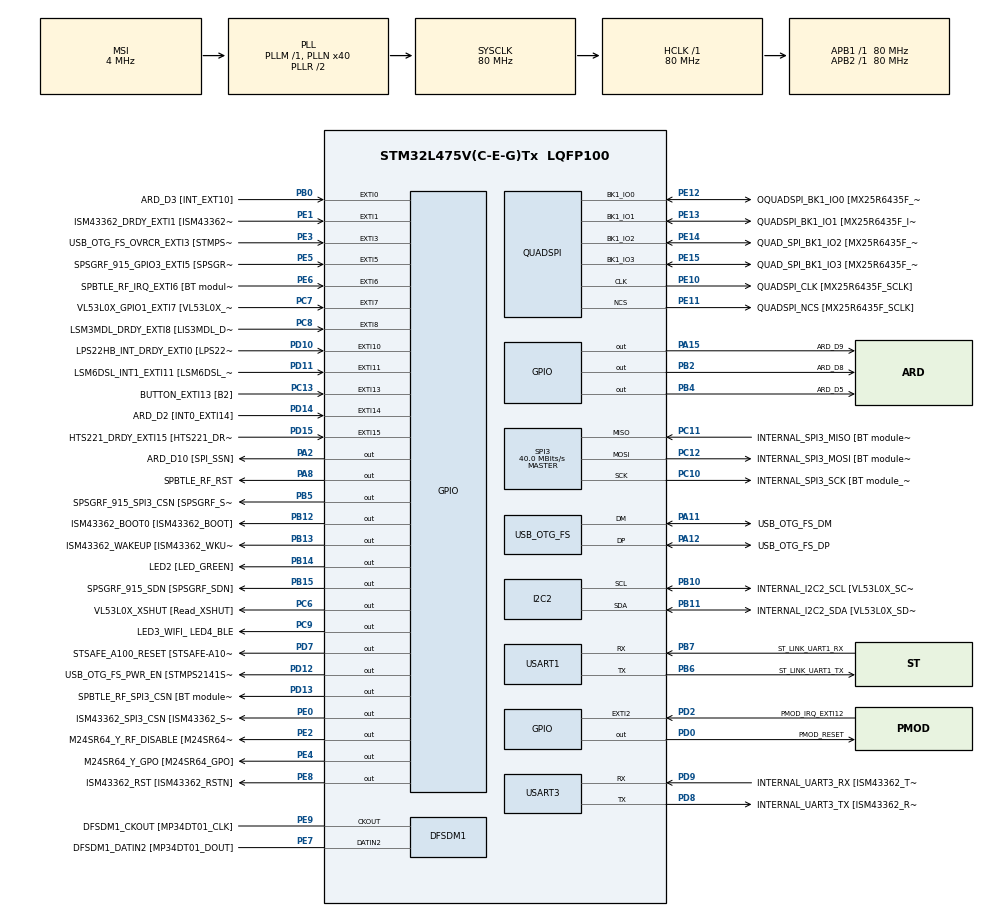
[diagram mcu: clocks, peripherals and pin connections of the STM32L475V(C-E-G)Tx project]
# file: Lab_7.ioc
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Mcu.Family=STM32L4
Mcu.Name=STM32L475V(C-E-G)Tx
Mcu.Package=LQFP100
NVIC.EXTI15_10_IRQn=true\:0\:0\:false\:false\:true\:true\:true\:true
NVIC.EXTI9_5_IRQn=true\:0\:0\:false\:false\:true\:true\:true\:true
NVIC.PriorityGroup=NVIC_PRIORITYGROUP_4
PA0.GPIO_Label=ARD_D1 [UART4_TX]
PA0.Signal=UART4_TX
PA1.GPIO_Label=ARD_D0 [UART4_RX]
PA1.Signal=UART4_RX
PA10.GPIO_Label=USB_OTG_FS_ID
PA10.Signal=USB_OTG_FS_ID
PA11.GPIO_Label=USB_OTG_FS_DM
PA11.Mode=Device_Only
PA11.Signal=USB_OTG_FS_DM
PA12.GPIO_Label=USB_OTG_FS_DP
PA12.Mode=Device_Only
PA12.Signal=USB_OTG_FS_DP
PA13\ (JTMS-SWDIO).GPIO_Label=SYS_JTMS_SWDIO
PA13\ (JTMS-SWDIO).Mode=Serial_Wire
PA13\ (JTMS-SWDIO).Signal=SYS_JTMS-SWDIO
PA14\ (JTCK-SWCLK).GPIO_Label=SYS_JTCK_SWCLK
PA14\ (JTCK-SWCLK).Mode=Serial_Wire
PA14\ (JTCK-SWCLK).Signal=SYS_JTCK-SWCLK
PA15\ (JTDI).GPIO_Label=ARD_D9
PA15\ (JTDI).Signal=GPIO_Output
PA2.GPIO_Label=ARD_D10 [SPI_SSN]
PA2.Signal=GPIO_Output
PA3.GPIO_Label=ARD_D4
PA3.Signal=S_TIM2_CH4
PA4.GPIO_Label=ARD_D7
PA4.Signal=ADCx_IN9
PA5.GPIO_Label=ARD_D13 [SPI1_SCK]
PA5.Signal=SPI1_SCK
PA6.GPIO_Label=ARD_D12 [SPI1_MISO]
PA6.Signal=SPI1_MISO
PA7.GPIO_Label=ARD_D11 [SPI1_MOSI]
PA7.Signal=SPI1_MOSI
PA8.GPIO_Label=SPBTLE_RF_RST
PA8.Signal=GPIO_Output
PA9.GPIO_Label=USB_OTG_FS_VBUS [STMPS2141STR_OUT]
PA9.Signal=USB_OTG_FS_VBUS
PB0.GPIO_Label=ARD_D3 [INT_EXT10]
PB0.Signal=GPXTI0
PB1.GPIO_Label=ARD_D6 [ADC1_IN6]
PB1.Signal=ADCx_IN16
PB10.GPIO_Label=INTERNAL_I2C2_SCL [VL53L0X_SCL]
PB10.GPIO_Pu=GPIO_PULLUP
PB10.Mode=I2C
PB10.Signal=I2C2_SCL
PB11.GPIO_Label=INTERNAL_I2C2_SDA [VL53L0X_SDA]
PB11.GPIO_Pu=GPIO_PULLUP
PB11.Mode=I2C
PB11.Signal=I2C2_SDA
PB12.GPIO_Label=ISM43362_BOOT0 [ISM43362_BOOT]
PB12.Signal=GPIO_Output
PB13.GPIO_Label=ISM43362_WAKEUP [ISM43362_WKUP]
PB13.Signal=GPIO_Output
PB14.GPIO_Label=LED2 [LED_GREEN]
PB14.Signal=GPIO_Output
PB15.GPIO_Label=SPSGRF_915_SDN [SPSGRF_SDN]
PB15.Signal=GPIO_Output
PB2.GPIO_Label=ARD_D8
PB2.Signal=GPIO_Output
PB3\ (JTDO-TRACESWO).GPIO_Label=SYS_JTD0_SWO
PB3\ (JTDO-TRACESWO).Signal=SYS_JTDO-SWO
PB4\ (NJTRST).GPIO_Label=ARD_D5
PB4\ (NJTRST).Signal=GPIO_Output
PB5.GPIO_Label=SPSGRF_915_SPI3_CSN [SPSGRF_SPI_CS]
PB5.PinState=GPIO_PIN_SET
PB5.Signal=GPIO_Output
PB6.GPIO_Label=ST_LINK_UART1_TX
PB6.Mode=Asynchronous
PB6.Signal=USART1_TX
PB7.GPIO_Label=ST_LINK_UART1_RX
PB7.Mode=Asynchronous
PB7.Signal=USART1_RX
PB8.GPIO_Label=ARD_D15 [I2C1_SCL]
PB8.Signal=I2C1_SCL
PB9.GPIO_Label=ARD_D14 [I2C1_SDA]
PB9.Signal=I2C1_SDA
PC0.GPIO_Label=ARD_A5 [ADC]
PC0.Signal=ADCx_IN1
PC1.GPIO_Label=ARD_A4 [ADC]
PC1.Signal=ADCx_IN2
PC10.GPIO_Label=INTERNAL_SPI3_SCK [BT module_SPI_SCLK] [ISM43362_SCK]
PC10.Mode=Full_Duplex_Master
PC10.Signal=SPI3_SCK
PC11.GPIO_Label=INTERNAL_SPI3_MISO [BT module_SPI_MISO] [ISM43362_MISO]
PC11.Mode=Full_Duplex_Master
PC11.Signal=SPI3_MISO
PC12.GPIO_Label=INTERNAL_SPI3_MOSI [BT module_SPI_MOSI] [ISM43362_MOSI]
PC12.Mode=Full_Duplex_Master
PC12.Signal=SPI3_MOSI
PC13.GPIO_Label=BUTTON_EXTI13 [B2]
PC13.GPIO_ModeDefaultEXTI=GPIO_MODE_IT_FALLING
PC13.Signal=GPXTI13
PC14-OSC32_IN\ (PC14).Mode=LSE-External-Oscillator
PC14-OSC32_IN\ (PC14).Signal=RCC_OSC32_IN
PC15-OSC32_OUT\ (PC15).Mode=LSE-External-Oscillator
PC15-OSC32_OUT\ (PC15).Signal=RCC_OSC32_OUT
PC2.GPIO_Label=ARD_A3 [ADC]
PC2.Signal=ADCx_IN3
PC3.GPIO_Label=ARD_A2 [ADC]
PC3.Signal=ADCx_IN4
PC4.GPIO_Label=ARD_A1 [ADC]
PC4.Signal=ADCx_IN13
PC5.GPIO_Label=ARD_A0 [ADC]
PC5.Signal=ADCx_IN14
PC6.GPIO_Label=VL53L0X_XSHUT [Read_XSHUT]
PC6.Signal=GPIO_Output
PC7.GPIO_Label=VL53L0X_GPIO1_EXTI7 [VL53L0X_GPIO1]
PC7.Signal=GPXTI7
PC8.GPIO_Label=LSM3MDL_DRDY_EXTI8 [LIS3MDL_DRDY]
PC8.Signal=GPXTI8
PC9.GPIO_Label=LED3_WIFI_ LED4_BLE
PC9.Signal=GPIO_Output
PD0.GPIO_Label=PMOD_RESET
PD0.Signal=GPIO_Output
PD1.GPIO_Label=PMOD_SPI2_SCK
PD1.Signal=SPI2_SCK
PD10.GPIO_Label=LPS22HB_INT_DRDY_EXTI0 [LPS22HB_INT_DRDY] 
PD10.Signal=GPXTI10
PD11.GPIO_Label=LSM6DSL_INT1_EXTI11 [LSM6DSL_INT1]
PD11.Signal=GPXTI11
PD12.GPIO_Label=USB_OTG_FS_PWR_EN [STMPS2141STR_EN]
PD12.Signal=GPIO_Output
PD13.GPIO_Label=SPBTLE_RF_SPI3_CSN [BT module_SPI_CS]
PD13.PinState=GPIO_PIN_SET
PD13.Signal=GPIO_Output
PD14.GPIO_Label=ARD_D2 [INT0_EXTI14]
PD14.Signal=GPXTI14
PD15.GPIO_Label=HTS221_DRDY_EXTI15 [HTS221_DRDY]
PD15.Signal=GPXTI15
PD2.GPIO_Label=PMOD_IRQ_EXTI12
PD2.Signal=GPXTI2
PD3.GPIO_Label=PMOD_UART2_CTS
PD3.Signal=USART2_CTS
PD4.GPIO_Label=PMOD_UART2_RTS
PD4.Signal=USART2_RTS
PD5.GPIO_Label=PMOD_UART2_TX
PD5.Signal=USART2_TX
PD6.GPIO_Label=PMOD_UART2_RX
PD6.Signal=USART2_RX
PD7.GPIO_Label=STSAFE_A100_RESET [STSAFE-A100_RESET]
PD7.Signal=GPIO_Output
PD8.GPIO_Label=INTERNAL_UART3_TX [ISM43362_RX]
PD8.Mode=Asynchronous
PD8.Signal=USART3_TX
PD9.GPIO_Label=INTERNAL_UART3_RX [ISM43362_TX]
PD9.Mode=Asynchronous
PD9.Signal=USART3_RX
PE0.GPIO_Label=ISM43362_SPI3_CSN [ISM43362_SSN]
PE0.PinState=GPIO_PIN_SET
PE0.Signal=GPIO_Output
PE1.GPIO_Label=ISM43362_DRDY_EXTI1 [ISM43362_DATARDY]
PE1.Signal=GPXTI1
PE10.GPIO_Label=QUADSPI_CLK [MX25R6435F_SCLK]
PE10.Mode=Single Bank
PE10.Signal=QUADSPI_CLK
PE11.GPIO_Label=QUADSPI_NCS [MX25R6435F_SCLK]
PE11.Mode=Single Bank
PE11.Signal=QUADSPI_NCS
PE12.GPIO_Label=OQUADSPI_BK1_IO0 [MX25R6435F_IO0]
PE12.Mode=Single Bank
PE12.Signal=QUADSPI_BK1_IO0
PE13.GPIO_Label=QUADSPI_BK1_IO1 [MX25R6435F_IO1]
PE13.Mode=Single Bank
PE13.Signal=QUADSPI_BK1_IO1
PE14.GPIO_Label=QUAD_SPI_BK1_IO2 [MX25R6435F_IO2]
PE14.Mode=Single Bank
PE14.Signal=QUADSPI_BK1_IO2
PE15.GPIO_Label=QUAD_SPI_BK1_IO3 [MX25R6435F_IO3]
PE15.Mode=Single Bank
PE15.Signal=QUADSPI_BK1_IO3
PE2.GPIO_Label=M24SR64_Y_RF_DISABLE [M24SR64_RFDIS]
PE2.Signal=GPIO_Output
PE3.GPIO_Label=USB_OTG_FS_OVRCR_EXTI3 [STMPS2141STR_FAULT]
PE3.Signal=GPXTI3
PE4.GPIO_Label=M24SR64_Y_GPO [M24SR64_GPO]
PE4.Signal=GPIO_Output
PE5.GPIO_Label=SPSGRF_915_GPIO3_EXTI5 [SPSGRF_GPIO_3]
PE5.Signal=GPXTI5
PE6.GPIO_Label=SPBTLE_RF_IRQ_EXTI6 [BT module_SPI_IRQ]
PE6.Signal=GPXTI6
PE7.GPIO_Label=DFSDM1_DATIN2 [MP34DT01_DOUT]
PE7.Signal=S_DATAIN2DFSDM1
PE8.GPIO_Label=ISM43362_RST [ISM43362_RSTN]
PE8.Signal=GPIO_Output
PE9.GPIO_Label=DFSDM1_CKOUT [MP34DT01_CLK]
PE9.Signal=S_CKOUTDFSDM1
ProjectManager.HeapSize=0x200
ProjectManager.StackSize=0x400
ProjectManager.TargetToolchain=STM32CubeIDE
QUADSPI.ClockPrescaler=2
QUADSPI.FifoThreshold=4
QUADSPI.FlashSize=23
QUADSPI.SampleShifting=QSPI_SAMPLE_SHIFTING_HALFCYCLE
RCC.ADCFreq_Value=48000000
RCC.AHBFreq_Value=80000000
RCC.APB1Freq_Value=80000000
RCC.APB1TimFreq_Value=80000000
RCC.APB2Freq_Value=80000000
RCC.APB2TimFreq_Value=80000000
RCC.CortexFreq_Value=80000000
RCC.HCLKFreq_Value=80000000
RCC.HSE_VALUE=8000000
RCC.HSI_VALUE=16000000
RCC.MSI_VALUE=4000000
RCC.PLLN=40
RCC.PLLSAI1N=24
RCC.SYSCLKFreq_VALUE=80000000
RCC.SYSCLKSource=RCC_SYSCLKSOURCE_PLLCLK
RCC.USBFreq_Value=48000000
RCC.VCOOutputFreq_Value=160000000
SH.ADCx_IN1.0=ADC1_IN1
SH.ADCx_IN13.0=ADC1_IN13
SH.ADCx_IN14.0=ADC1_IN14
SH.ADCx_IN16.0=ADC1_IN16
SH.ADCx_IN2.0=ADC1_IN2
SH.ADCx_IN3.0=ADC1_IN3
SH.ADCx_IN4.0=ADC1_IN4
SH.ADCx_IN9.0=ADC1_IN9
SH.S_CKOUTDFSDM1.0=DFSDM1_CKOUT,CKOUT
SH.S_CKOUTDFSDM1.1=DFSDM1_CKOUT,PDM_SPI_Input_from_ch12_and_Internal_Clock
SH.S_DATAIN2DFSDM1.0=DFSDM1_DATIN2,PDM_SPI_Input_from_ch12_and_Internal_Clock
SH.S_TIM2_CH4.0=TIM2_CH4
SPI3.CalculateBaudRate=40.0 MBits/s
SPI3.Direction=SPI_DIRECTION_2LINES
SPI3.Mode=SPI_MODE_MASTER
SPI3.VirtualType=VM_MASTER
USART1.VirtualMode-Asynchronous=VM_ASYNC
USART3.VirtualMode-Asynchronous=VM_ASYNC
USB_OTG_FS.VirtualMode=Device_Only
board=B-L475E-IOT01A2

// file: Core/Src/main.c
/* USER CODE BEGIN Header */
/**
  ******************************************************************************
  * @file           : main.c
  * @brief          : Main program body
  ******************************************************************************
  * @attention
  *
  * Copyright (c) 2026 STMicroelectronics.
  * All rights reserved.
  *
  * This software is licensed under terms that can be found in the LICENSE file
  * in the root directory of this software component.
  * If no LICENSE file comes with this software, it is provided AS-IS.
  *
  ******************************************************************************
  */
/* USER CODE END Header */
#include "main.h"

/* USER CODE BEGIN Includes */
#include <stdio.h>
#include "arm_math.h"
#include "math_helper.h"
#include "stm32l475e_iot01_accelero.h"
#include "lsm6dsl.h"
/* USER CODE END Includes */

/* USER CODE BEGIN PD */
#define TEST_LENGTH_SAMPLES  320
#define SNR_THRESHOLD_F32    140.0f
#define BLOCK_SIZE           32
#define NUM_TAPS             29
#define LSM6DSL_ADDR        LSM6DSL_ACC_GYRO_I2C_ADDRESS_LOW

#define DEMO_KNOWN_SIGNAL   1
#define DEMO_REAL_SENSOR    2

#define CURRENT_DEMO        DEMO_REAL_SENSOR
/* USER CODE END PD */

DFSDM_Channel_HandleTypeDef hdfsdm1_channel1;

I2C_HandleTypeDef hi2c2;

QSPI_HandleTypeDef hqspi;

SPI_HandleTypeDef hspi3;

UART_HandleTypeDef huart1;
UART_HandleTypeDef huart3;

PCD_HandleTypeDef hpcd_USB_OTG_FS;

/* USER CODE BEGIN PV */
extern float32_t testInput_f32_1kHz_15kHz[TEST_LENGTH_SAMPLES];
extern float32_t refOutput[TEST_LENGTH_SAMPLES];
static const float32_t firCoeffs32[NUM_TAPS] = {
  -0.0018225230f, -0.0015879294f, +0.0000000000f, +0.0036977508f,
  +0.0080754303f, +0.0085302217f, -0.0000000000f, -0.0173976984f,
  -0.0341458607f, -0.0333591565f, +0.0000000000f, +0.0676308395f,
  +0.1522061835f, +0.2229246956f, +0.2504960933f, +0.2229246956f,
  +0.1522061835f, +0.0676308395f, +0.0000000000f, -0.0333591565f,
  -0.0341458607f, -0.0173976984f, -0.0000000000f, +0.0085302217f,
  +0.0080754303f, +0.0036977508f, +0.0000000000f, -0.0015879294f,
  -0.0018225230f
};

static float32_t testOutput[TEST_LENGTH_SAMPLES];
static float32_t firStateF32[BLOCK_SIZE + NUM_TAPS - 1];
/* USER CODE END PV */

void SystemClock_Config(void);
static void MX_GPIO_Init(void);
static void MX_DFSDM1_Init(void);
static void MX_I2C2_Init(void);
static void MX_QUADSPI_Init(void);
static void MX_SPI3_Init(void);
static void MX_USART1_UART_Init(void);
static void MX_USART3_UART_Init(void);
static void MX_USB_OTG_FS_PCD_Init(void);
/* USER CODE BEGIN PFP */
void FIR_KnownSignal_Test(void);
void FIR_RealSensor_Test(void);
static uint8_t lsm6dsl_read_reg(uint8_t reg);
static void lsm6dsl_write_reg(uint8_t reg, uint8_t val);
static void LSM6DSL_Accel_Config_104Hz_2G(void);
/* USER CODE END PFP */

int main(void)
{

  /* MCU Configuration--------------------------------------------------------*/

  /* Reset of all peripherals, Initializes the Flash interface and the Systick. */
  HAL_Init();

  /* Configure the system clock */
  SystemClock_Config();

  /* Initialize all configured peripherals */
  MX_GPIO_Init();
  MX_DFSDM1_Init();
  MX_I2C2_Init();
  MX_QUADSPI_Init();
  MX_SPI3_Init();
  MX_USART1_UART_Init();
  MX_USART3_UART_Init();
  MX_USB_OTG_FS_PCD_Init();
  /* USER CODE BEGIN 2 */
  #if CURRENT_DEMO == DEMO_KNOWN_SIGNAL
	printf("\r\nCMSIS-DSP FIR known signal test\r\n");
	FIR_KnownSignal_Test();

  #elif CURRENT_DEMO == DEMO_REAL_SENSOR

	printf("\r\nLab7 Part 2: Real accelerometer FIR test\r\n");
	FIR_RealSensor_Test();

  #endif

  /* USER CODE END 2 */

  /* Infinite loop */
  while (1)
  {

  }
}

void SystemClock_Config(void)
{
  RCC_OscInitTypeDef RCC_OscInitStruct = {0};
  RCC_ClkInitTypeDef RCC_ClkInitStruct = {0};

  /** Configure the main internal regulator output voltage
  */
  if (HAL_PWREx_ControlVoltageScaling(PWR_REGULATOR_VOLTAGE_SCALE1) != HAL_OK)
  {
    Error_Handler();
  }

  /** Configure LSE Drive Capability
  */
  HAL_PWR_EnableBkUpAccess();
  __HAL_RCC_LSEDRIVE_CONFIG(RCC_LSEDRIVE_LOW);

  /** Initializes the RCC Oscillators according to the specified parameters
  * in the RCC_OscInitTypeDef structure.
  */
  RCC_OscInitStruct.OscillatorType = RCC_OSCILLATORTYPE_LSE|RCC_OSCILLATORTYPE_MSI;
  RCC_OscInitStruct.LSEState = RCC_LSE_ON;
  RCC_OscInitStruct.MSIState = RCC_MSI_ON;
  RCC_OscInitStruct.MSICalibrationValue = 0;
  RCC_OscInitStruct.MSIClockRange = RCC_MSIRANGE_6;
  RCC_OscInitStruct.PLL.PLLState = RCC_PLL_ON;
  RCC_OscInitStruct.PLL.PLLSource = RCC_PLLSOURCE_MSI;
  RCC_OscInitStruct.PLL.PLLM = 1;
  RCC_OscInitStruct.PLL.PLLN = 40;
  RCC_OscInitStruct.PLL.PLLP = RCC_PLLP_DIV7;
  RCC_OscInitStruct.PLL.PLLQ = RCC_PLLQ_DIV2;
  RCC_OscInitStruct.PLL.PLLR = RCC_PLLR_DIV2;
  if (HAL_RCC_OscConfig(&RCC_OscInitStruct) != HAL_OK)
  {
    Error_Handler();
  }

  /** Initializes the CPU, AHB and APB buses clocks
  */
  RCC_ClkInitStruct.ClockType = RCC_CLOCKTYPE_HCLK|RCC_CLOCKTYPE_SYSCLK
                              |RCC_CLOCKTYPE_PCLK1|RCC_CLOCKTYPE_PCLK2;
  RCC_ClkInitStruct.SYSCLKSource = RCC_SYSCLKSOURCE_PLLCLK;
  RCC_ClkInitStruct.AHBCLKDivider = RCC_SYSCLK_DIV1;
  RCC_ClkInitStruct.APB1CLKDivider = RCC_HCLK_DIV1;
  RCC_ClkInitStruct.APB2CLKDivider = RCC_HCLK_DIV1;

  if (HAL_RCC_ClockConfig(&RCC_ClkInitStruct, FLASH_LATENCY_4) != HAL_OK)
  {
    Error_Handler();
  }

  /** Enable MSI Auto calibration
  */
  HAL_RCCEx_EnableMSIPLLMode();
}

static void MX_DFSDM1_Init(void)
{

  hdfsdm1_channel1.Instance = DFSDM1_Channel1;
  hdfsdm1_channel1.Init.OutputClock.Activation = ENABLE;
  hdfsdm1_channel1.Init.OutputClock.Selection = DFSDM_CHANNEL_OUTPUT_CLOCK_SYSTEM;
  hdfsdm1_channel1.Init.OutputClock.Divider = 2;
  hdfsdm1_channel1.Init.Input.Multiplexer = DFSDM_CHANNEL_EXTERNAL_INPUTS;
  hdfsdm1_channel1.Init.Input.DataPacking = DFSDM_CHANNEL_STANDARD_MODE;
  hdfsdm1_channel1.Init.Input.Pins = DFSDM_CHANNEL_FOLLOWING_CHANNEL_PINS;
  hdfsdm1_channel1.Init.SerialInterface.Type = DFSDM_CHANNEL_SPI_RISING;
  hdfsdm1_channel1.Init.SerialInterface.SpiClock = DFSDM_CHANNEL_SPI_CLOCK_INTERNAL;
  hdfsdm1_channel1.Init.Awd.FilterOrder = DFSDM_CHANNEL_FASTSINC_ORDER;
  hdfsdm1_channel1.Init.Awd.Oversampling = 1;
  hdfsdm1_channel1.Init.Offset = 0;
  hdfsdm1_channel1.Init.RightBitShift = 0x00;
  if (HAL_DFSDM_ChannelInit(&hdfsdm1_channel1) != HAL_OK)
  {
    Error_Handler();
  }

}

static void MX_I2C2_Init(void)
{

  hi2c2.Instance = I2C2;
  hi2c2.Init.Timing = 0x00000E14;
  hi2c2.Init.OwnAddress1 = 0;
  hi2c2.Init.AddressingMode = I2C_ADDRESSINGMODE_7BIT;
  hi2c2.Init.DualAddressMode = I2C_DUALADDRESS_DISABLE;
  hi2c2.Init.OwnAddress2 = 0;
  hi2c2.Init.OwnAddress2Masks = I2C_OA2_NOMASK;
  hi2c2.Init.GeneralCallMode = I2C_GENERALCALL_DISABLE;
  hi2c2.Init.NoStretchMode = I2C_NOSTRETCH_DISABLE;
  if (HAL_I2C_Init(&hi2c2) != HAL_OK)
  {
    Error_Handler();
  }

  /** Configure Analogue filter
  */
  if (HAL_I2CEx_ConfigAnalogFilter(&hi2c2, I2C_ANALOGFILTER_ENABLE) != HAL_OK)
  {
    Error_Handler();
  }

  /** Configure Digital filter
  */
  if (HAL_I2CEx_ConfigDigitalFilter(&hi2c2, 0) != HAL_OK)
  {
    Error_Handler();
  }

}

static void MX_QUADSPI_Init(void)
{

  /* QUADSPI parameter configuration*/
  hqspi.Instance = QUADSPI;
  hqspi.Init.ClockPrescaler = 2;
  hqspi.Init.FifoThreshold = 4;
  hqspi.Init.SampleShifting = QSPI_SAMPLE_SHIFTING_HALFCYCLE;
  hqspi.Init.FlashSize = 23;
  hqspi.Init.ChipSelectHighTime = QSPI_CS_HIGH_TIME_1_CYCLE;
  hqspi.Init.ClockMode = QSPI_CLOCK_MODE_0;
  if (HAL_QSPI_Init(&hqspi) != HAL_OK)
  {
    Error_Handler();
  }

}

static void MX_SPI3_Init(void)
{

  /* SPI3 parameter configuration*/
  hspi3.Instance = SPI3;
  hspi3.Init.Mode = SPI_MODE_MASTER;
  hspi3.Init.Direction = SPI_DIRECTION_2LINES;
  hspi3.Init.DataSize = SPI_DATASIZE_4BIT;
  hspi3.Init.CLKPolarity = SPI_POLARITY_LOW;
  hspi3.Init.CLKPhase = SPI_PHASE_1EDGE;
  hspi3.Init.NSS = SPI_NSS_SOFT;
  hspi3.Init.BaudRatePrescaler = SPI_BAUDRATEPRESCALER_2;
  hspi3.Init.FirstBit = SPI_FIRSTBIT_MSB;
  hspi3.Init.TIMode = SPI_TIMODE_DISABLE;
  hspi3.Init.CRCCalculation = SPI_CRCCALCULATION_DISABLE;
  hspi3.Init.CRCPolynomial = 7;
  hspi3.Init.CRCLength = SPI_CRC_LENGTH_DATASIZE;
  hspi3.Init.NSSPMode = SPI_NSS_PULSE_ENABLE;
  if (HAL_SPI_Init(&hspi3) != HAL_OK)
  {
    Error_Handler();
  }

}

static void MX_USART1_UART_Init(void)
{

  huart1.Instance = USART1;
  huart1.Init.BaudRate = 115200;
  huart1.Init.WordLength = UART_WORDLENGTH_8B;
  huart1.Init.StopBits = UART_STOPBITS_1;
  huart1.Init.Parity = UART_PARITY_NONE;
  huart1.Init.Mode = UART_MODE_TX_RX;
  huart1.Init.HwFlowCtl = UART_HWCONTROL_NONE;
  huart1.Init.OverSampling = UART_OVERSAMPLING_16;
  huart1.Init.OneBitSampling = UART_ONE_BIT_SAMPLE_DISABLE;
  huart1.AdvancedInit.AdvFeatureInit = UART_ADVFEATURE_NO_INIT;
  if (HAL_UART_Init(&huart1) != HAL_OK)
  {
    Error_Handler();
  }

}

static void MX_USART3_UART_Init(void)
{

  huart3.Instance = USART3;
  huart3.Init.BaudRate = 115200;
  huart3.Init.WordLength = UART_WORDLENGTH_8B;
  huart3.Init.StopBits = UART_STOPBITS_1;
  huart3.Init.Parity = UART_PARITY_NONE;
  huart3.Init.Mode = UART_MODE_TX_RX;
  huart3.Init.HwFlowCtl = UART_HWCONTROL_NONE;
  huart3.Init.OverSampling = UART_OVERSAMPLING_16;
  huart3.Init.OneBitSampling = UART_ONE_BIT_SAMPLE_DISABLE;
  huart3.AdvancedInit.AdvFeatureInit = UART_ADVFEATURE_NO_INIT;
  if (HAL_UART_Init(&huart3) != HAL_OK)
  {
    Error_Handler();
  }

}

static void MX_USB_OTG_FS_PCD_Init(void)
{

  hpcd_USB_OTG_FS.Instance = USB_OTG_FS;
  hpcd_USB_OTG_FS.Init.dev_endpoints = 6;
  hpcd_USB_OTG_FS.Init.speed = PCD_SPEED_FULL;
  hpcd_USB_OTG_FS.Init.phy_itface = PCD_PHY_EMBEDDED;
  hpcd_USB_OTG_FS.Init.Sof_enable = DISABLE;
  hpcd_USB_OTG_FS.Init.low_power_enable = DISABLE;
  hpcd_USB_OTG_FS.Init.lpm_enable = DISABLE;
  hpcd_USB_OTG_FS.Init.battery_charging_enable = DISABLE;
  hpcd_USB_OTG_FS.Init.use_dedicated_ep1 = DISABLE;
  hpcd_USB_OTG_FS.Init.vbus_sensing_enable = DISABLE;
  if (HAL_PCD_Init(&hpcd_USB_OTG_FS) != HAL_OK)
  {
    Error_Handler();
  }

}

static void MX_GPIO_Init(void)
{
  GPIO_InitTypeDef GPIO_InitStruct = {0};

  /* GPIO Ports Clock Enable */
  __HAL_RCC_GPIOE_CLK_ENABLE();
  __HAL_RCC_GPIOC_CLK_ENABLE();
  __HAL_RCC_GPIOA_CLK_ENABLE();
  __HAL_RCC_GPIOB_CLK_ENABLE();
  __HAL_RCC_GPIOD_CLK_ENABLE();

  /*Configure GPIO pin Output Level */
  HAL_GPIO_WritePin(GPIOE, M24SR64_Y_RF_DISABLE_Pin|M24SR64_Y_GPO_Pin|ISM43362_RST_Pin, GPIO_PIN_RESET);

  /*Configure GPIO pin Output Level */
  HAL_GPIO_WritePin(GPIOA, ARD_D10_Pin|SPBTLE_RF_RST_Pin|ARD_D9_Pin, GPIO_PIN_RESET);

  /*Configure GPIO pin Output Level */
  HAL_GPIO_WritePin(GPIOB, ARD_D8_Pin|ISM43362_BOOT0_Pin|ISM43362_WAKEUP_Pin|LED2_Pin
                          |SPSGRF_915_SDN_Pin|ARD_D5_Pin, GPIO_PIN_RESET);

  /*Configure GPIO pin Output Level */
  HAL_GPIO_WritePin(GPIOD, USB_OTG_FS_PWR_EN_Pin|PMOD_RESET_Pin|STSAFE_A100_RESET_Pin, GPIO_PIN_RESET);

  /*Configure GPIO pin Output Level */
  HAL_GPIO_WritePin(SPBTLE_RF_SPI3_CSN_GPIO_Port, SPBTLE_RF_SPI3_CSN_Pin, GPIO_PIN_SET);

  /*Configure GPIO pin Output Level */
  HAL_GPIO_WritePin(GPIOC, VL53L0X_XSHUT_Pin|LED3_WIFI__LED4_BLE_Pin, GPIO_PIN_RESET);

  /*Configure GPIO pin Output Level */
  HAL_GPIO_WritePin(SPSGRF_915_SPI3_CSN_GPIO_Port, SPSGRF_915_SPI3_CSN_Pin, GPIO_PIN_SET);

  /*Configure GPIO pin Output Level */
  HAL_GPIO_WritePin(ISM43362_SPI3_CSN_GPIO_Port, ISM43362_SPI3_CSN_Pin, GPIO_PIN_SET);

  /*Configure GPIO pins : M24SR64_Y_RF_DISABLE_Pin M24SR64_Y_GPO_Pin ISM43362_RST_Pin ISM43362_SPI3_CSN_Pin */
  GPIO_InitStruct.Pin = M24SR64_Y_RF_DISABLE_Pin|M24SR64_Y_GPO_Pin|ISM43362_RST_Pin|ISM43362_SPI3_CSN_Pin;
  GPIO_InitStruct.Mode = GPIO_MODE_OUTPUT_PP;
  GPIO_InitStruct.Pull = GPIO_NOPULL;
  GPIO_InitStruct.Speed = GPIO_SPEED_FREQ_LOW;
  HAL_GPIO_Init(GPIOE, &GPIO_InitStruct);

  /*Configure GPIO pins : USB_OTG_FS_OVRCR_EXTI3_Pin SPSGRF_915_GPIO3_EXTI5_Pin SPBTLE_RF_IRQ_EXTI6_Pin ISM43362_DRDY_EXTI1_Pin */
  GPIO_InitStruct.Pin = USB_OTG_FS_OVRCR_EXTI3_Pin|SPSGRF_915_GPIO3_EXTI5_Pin|SPBTLE_RF_IRQ_EXTI6_Pin|ISM43362_DRDY_EXTI1_Pin;
  GPIO_InitStruct.Mode = GPIO_MODE_IT_RISING;
  GPIO_InitStruct.Pull = GPIO_NOPULL;
  HAL_GPIO_Init(GPIOE, &GPIO_InitStruct);

  /*Configure GPIO pin : BUTTON_EXTI13_Pin */
  GPIO_InitStruct.Pin = BUTTON_EXTI13_Pin;
  GPIO_InitStruct.Mode = GPIO_MODE_IT_FALLING;
  GPIO_InitStruct.Pull = GPIO_NOPULL;
  HAL_GPIO_Init(BUTTON_EXTI13_GPIO_Port, &GPIO_InitStruct);

  /*Configure GPIO pins : ARD_A5_Pin ARD_A4_Pin ARD_A3_Pin ARD_A2_Pin
                           ARD_A1_Pin ARD_A0_Pin */
  GPIO_InitStruct.Pin = ARD_A5_Pin|ARD_A4_Pin|ARD_A3_Pin|ARD_A2_Pin
                          |ARD_A1_Pin|ARD_A0_Pin;
  GPIO_InitStruct.Mode = GPIO_MODE_ANALOG_ADC_CONTROL;
  GPIO_InitStruct.Pull = GPIO_NOPULL;
  HAL_GPIO_Init(GPIOC, &GPIO_InitStruct);

  /*Configure GPIO pins : ARD_D1_Pin ARD_D0_Pin */
  GPIO_InitStruct.Pin = ARD_D1_Pin|ARD_D0_Pin;
  GPIO_InitStruct.Mode = GPIO_MODE_AF_PP;
  GPIO_InitStruct.Pull = GPIO_NOPULL;
  GPIO_InitStruct.Speed = GPIO_SPEED_FREQ_VERY_HIGH;
  GPIO_InitStruct.Alternate = GPIO_AF8_UART4;
  HAL_GPIO_Init(GPIOA, &GPIO_InitStruct);

  /*Configure GPIO pins : ARD_D10_Pin SPBTLE_RF_RST_Pin ARD_D9_Pin */
  GPIO_InitStruct.Pin = ARD_D10_Pin|SPBTLE_RF_RST_Pin|ARD_D9_Pin;
  GPIO_InitStruct.Mode = GPIO_MODE_OUTPUT_PP;
  GPIO_InitStruct.Pull = GPIO_NOPULL;
  GPIO_InitStruct.Speed = GPIO_SPEED_FREQ_LOW;
  HAL_GPIO_Init(GPIOA, &GPIO_InitStruct);

  /*Configure GPIO pin : ARD_D4_Pin */
  GPIO_InitStruct.Pin = ARD_D4_Pin;
  GPIO_InitStruct.Mode = GPIO_MODE_AF_PP;
  GPIO_InitStruct.Pull = GPIO_NOPULL;
  GPIO_InitStruct.Speed = GPIO_SPEED_FREQ_LOW;
  GPIO_InitStruct.Alternate = GPIO_AF1_TIM2;
  HAL_GPIO_Init(ARD_D4_GPIO_Port, &GPIO_InitStruct);

  /*Configure GPIO pin : ARD_D7_Pin */
  GPIO_InitStruct.Pin = ARD_D7_Pin;
  GPIO_InitStruct.Mode = GPIO_MODE_ANALOG_ADC_CONTROL;
  GPIO_InitStruct.Pull = GPIO_NOPULL;
  HAL_GPIO_Init(ARD_D7_GPIO_Port, &GPIO_InitStruct);

  /*Configure GPIO pins : ARD_D13_Pin ARD_D12_Pin ARD_D11_Pin */
  GPIO_InitStruct.Pin = ARD_D13_Pin|ARD_D12_Pin|ARD_D11_Pin;
  GPIO_InitStruct.Mode = GPIO_MODE_AF_PP;
  GPIO_InitStruct.Pull = GPIO_NOPULL;
  GPIO_InitStruct.Speed = GPIO_SPEED_FREQ_VERY_HIGH;
  GPIO_InitStruct.Alternate = GPIO_AF5_SPI1;
  HAL_GPIO_Init(GPIOA, &GPIO_InitStruct);

  /*Configure GPIO pin : ARD_D3_Pin */
  GPIO_InitStruct.Pin = ARD_D3_Pin;
  GPIO_InitStruct.Mode = GPIO_MODE_IT_RISING;
  GPIO_InitStruct.Pull = GPIO_NOPULL;
  HAL_GPIO_Init(ARD_D3_GPIO_Port, &GPIO_InitStruct);

  /*Configure GPIO pin : ARD_D6_Pin */
  GPIO_InitStruct.Pin = ARD_D6_Pin;
  GPIO_InitStruct.Mode = GPIO_MODE_ANALOG_ADC_CONTROL;
  GPIO_InitStruct.Pull = GPIO_NOPULL;
  HAL_GPIO_Init(ARD_D6_GPIO_Port, &GPIO_InitStruct);

  /*Configure GPIO pins : ARD_D8_Pin ISM43362_BOOT0_Pin ISM43362_WAKEUP_Pin LED2_Pin
                           SPSGRF_915_SDN_Pin ARD_D5_Pin SPSGRF_915_SPI3_CSN_Pin */
  GPIO_InitStruct.Pin = ARD_D8_Pin|ISM43362_BOOT0_Pin|ISM43362_WAKEUP_Pin|LED2_Pin
                          |SPSGRF_915_SDN_Pin|ARD_D5_Pin|SPSGRF_915_SPI3_CSN_Pin;
  GPIO_InitStruct.Mode = GPIO_MODE_OUTPUT_PP;
  GPIO_InitStruct.Pull = GPIO_NOPULL;
  GPIO_InitStruct.Speed = GPIO_SPEED_FREQ_LOW;
  HAL_GPIO_Init(GPIOB, &GPIO_InitStruct);

  /*Configure GPIO pins : LPS22HB_INT_DRDY_EXTI0_Pin LSM6DSL_INT1_EXTI11_Pin ARD_D2_Pin HTS221_DRDY_EXTI15_Pin
                           PMOD_IRQ_EXTI12_Pin */
  GPIO_InitStruct.Pin = LPS22HB_INT_DRDY_EXTI0_Pin|LSM6DSL_INT1_EXTI11_Pin|ARD_D2_Pin|HTS221_DRDY_EXTI15_Pin
                          |PMOD_IRQ_EXTI12_Pin;
  GPIO_InitStruct.Mode = GPIO_MODE_IT_RISING;
  GPIO_InitStruct.Pull = GPIO_NOPULL;
  HAL_GPIO_Init(GPIOD, &GPIO_InitStruct);

  /*Configure GPIO pins : USB_OTG_FS_PWR_EN_Pin SPBTLE_RF_SPI3_CSN_Pin PMOD_RESET_Pin STSAFE_A100_RESET_Pin */
  GPIO_InitStruct.Pin = USB_OTG_FS_PWR_EN_Pin|SPBTLE_RF_SPI3_CSN_Pin|PMOD_RESET_Pin|STSAFE_A100_RESET_Pin;
  GPIO_InitStruct.Mode = GPIO_MODE_OUTPUT_PP;
  GPIO_InitStruct.Pull = GPIO_NOPULL;
  GPIO_InitStruct.Speed = GPIO_SPEED_FREQ_LOW;
  HAL_GPIO_Init(GPIOD, &GPIO_InitStruct);

  /*Configure GPIO pins : VL53L0X_XSHUT_Pin LED3_WIFI__LED4_BLE_Pin */
  GPIO_InitStruct.Pin = VL53L0X_XSHUT_Pin|LED3_WIFI__LED4_BLE_Pin;
  GPIO_InitStruct.Mode = GPIO_MODE_OUTPUT_PP;
  GPIO_InitStruct.Pull = GPIO_NOPULL;
  GPIO_InitStruct.Speed = GPIO_SPEED_FREQ_LOW;
  HAL_GPIO_Init(GPIOC, &GPIO_InitStruct);

  /*Configure GPIO pins : VL53L0X_GPIO1_EXTI7_Pin LSM3MDL_DRDY_EXTI8_Pin */
  GPIO_InitStruct.Pin = VL53L0X_GPIO1_EXTI7_Pin|LSM3MDL_DRDY_EXTI8_Pin;
  GPIO_InitStruct.Mode = GPIO_MODE_IT_RISING;
  GPIO_InitStruct.Pull = GPIO_NOPULL;
  HAL_GPIO_Init(GPIOC, &GPIO_InitStruct);

  /*Configure GPIO pin : PMOD_SPI2_SCK_Pin */
  GPIO_InitStruct.Pin = PMOD_SPI2_SCK_Pin;
  GPIO_InitStruct.Mode = GPIO_MODE_AF_PP;
  GPIO_InitStruct.Pull = GPIO_NOPULL;
  GPIO_InitStruct.Speed = GPIO_SPEED_FREQ_VERY_HIGH;
  GPIO_InitStruct.Alternate = GPIO_AF5_SPI2;
  HAL_GPIO_Init(PMOD_SPI2_SCK_GPIO_Port, &GPIO_InitStruct);

  /*Configure GPIO pins : PMOD_UART2_CTS_Pin PMOD_UART2_RTS_Pin PMOD_UART2_TX_Pin PMOD_UART2_RX_Pin */
  GPIO_InitStruct.Pin = PMOD_UART2_CTS_Pin|PMOD_UART2_RTS_Pin|PMOD_UART2_TX_Pin|PMOD_UART2_RX_Pin;
  GPIO_InitStruct.Mode = GPIO_MODE_AF_PP;
  GPIO_InitStruct.Pull = GPIO_NOPULL;
  GPIO_InitStruct.Speed = GPIO_SPEED_FREQ_VERY_HIGH;
  GPIO_InitStruct.Alternate = GPIO_AF7_USART2;
  HAL_GPIO_Init(GPIOD, &GPIO_InitStruct);

  /*Configure GPIO pins : ARD_D15_Pin ARD_D14_Pin */
  GPIO_InitStruct.Pin = ARD_D15_Pin|ARD_D14_Pin;
  GPIO_InitStruct.Mode = GPIO_MODE_AF_OD;
  GPIO_InitStruct.Pull = GPIO_NOPULL;
  GPIO_InitStruct.Speed = GPIO_SPEED_FREQ_VERY_HIGH;
  GPIO_InitStruct.Alternate = GPIO_AF4_I2C1;
  HAL_GPIO_Init(GPIOB, &GPIO_InitStruct);

  /* EXTI interrupt init*/
  HAL_NVIC_SetPriority(EXTI9_5_IRQn, 0, 0);
  HAL_NVIC_EnableIRQ(EXTI9_5_IRQn);

  HAL_NVIC_SetPriority(EXTI15_10_IRQn, 0, 0);
  HAL_NVIC_EnableIRQ(EXTI15_10_IRQn);

}

/* USER CODE BEGIN 4 */
int __io_putchar(int ch)
{
    HAL_UART_Transmit(&huart1, (uint8_t *)&ch, 1, HAL_MAX_DELAY);
    return ch;
}

static uint8_t lsm6dsl_read_reg(uint8_t reg)
{
    return SENSOR_IO_Read(LSM6DSL_ADDR, reg);
}

static void lsm6dsl_write_reg(uint8_t reg, uint8_t val)
{
    SENSOR_IO_Write(LSM6DSL_ADDR, reg, val);
}

static void LSM6DSL_Accel_Config_104Hz_2G(void)
{
    uint8_t val;

    /*
     * CTRL3_C:
     * BDU = block data update
     * IF_INC = auto increment register address
     */
    val = lsm6dsl_read_reg(LSM6DSL_ACC_GYRO_CTRL3_C);
    val |= (LSM6DSL_BDU_BLOCK_UPDATE | LSM6DSL_ACC_GYRO_IF_INC_ENABLED);
    lsm6dsl_write_reg(LSM6DSL_ACC_GYRO_CTRL3_C, val);

    /*
     * CTRL1_XL:
     * Accelerometer ODR = 104 Hz
     * Full scale = +/- 2g
     */
    lsm6dsl_write_reg(
        LSM6DSL_ACC_GYRO_CTRL1_XL,
        (LSM6DSL_ODR_104Hz | LSM6DSL_ACC_FULLSCALE_2G)
    );

    printf("LSM6DSL config: ODR=104Hz, FS=+/-2g\r\n");
}

void FIR_KnownSignal_Test(void)
{
    uint32_t i;
    uint32_t blockSize = BLOCK_SIZE;
    uint32_t numBlocks = TEST_LENGTH_SAMPLES / BLOCK_SIZE;

    arm_fir_instance_f32 S;
    arm_status status;
    float32_t snr;

    printf("===== FIR Known Signal Test Start =====\r\n");

    arm_fir_init_f32(
        &S,
        NUM_TAPS,
        (float32_t *)&firCoeffs32[0],
        &firStateF32[0],
        blockSize
    );

    for (i = 0; i < numBlocks; i++)
    {
        arm_fir_f32(
            &S,
            &testInput_f32_1kHz_15kHz[i * blockSize],
            &testOutput[i * blockSize],
            blockSize
        );
    }

    snr = arm_snr_f32(
        &refOutput[0],
        &testOutput[0],
        TEST_LENGTH_SAMPLES
    );

    status = (snr < SNR_THRESHOLD_F32) ?
             ARM_MATH_TEST_FAILURE :
             ARM_MATH_SUCCESS;

    printf("SNR = %f dB\r\n", snr);

    if (status == ARM_MATH_SUCCESS)
    {
        printf("FIR known signal test: SUCCESS\r\n");
    }
    else
    {
        printf("FIR known signal test: FAILED\r\n");
    }

    printf("\r\nindex,input,output,reference\r\n");

    for (i = 0; i < 20; i++)
    {
        printf("%lu,%f,%f,%f\r\n",
               i,
               testInput_f32_1kHz_15kHz[i],
               testOutput[i],
               refOutput[i]);
    }

    printf("===== FIR Known Signal Test End =====\r\n");
}

void FIR_RealSensor_Test(void)
{
    arm_fir_instance_f32 Sx;
    arm_fir_instance_f32 Sy;
    arm_fir_instance_f32 Sz;

    int16_t acc[3];

    float32_t rawX[BLOCK_SIZE];
    float32_t rawY[BLOCK_SIZE];
    float32_t rawZ[BLOCK_SIZE];

    float32_t filteredX[BLOCK_SIZE];
    float32_t filteredY[BLOCK_SIZE];
    float32_t filteredZ[BLOCK_SIZE];

    float32_t stateX[BLOCK_SIZE + NUM_TAPS - 1];
    float32_t stateY[BLOCK_SIZE + NUM_TAPS - 1];
    float32_t stateZ[BLOCK_SIZE + NUM_TAPS - 1];

    uint32_t sampleCount = 0;

    printf("Initializing accelerometer...\r\n");

    if (BSP_ACCELERO_Init() != ACCELERO_OK)
    {
        printf("ACCELERO init failed\r\n");
        return;
    }

    printf("ACCELERO init success\r\n");

    /*
     * Directly configure LSM6DSL accelerometer register.
     * This makes the sensor update rate close to our 10 ms sampling loop.
     */
    LSM6DSL_Accel_Config_104Hz_2G();

    arm_fir_init_f32(&Sx, NUM_TAPS, (float32_t *)&firCoeffs32[0], stateX, BLOCK_SIZE);
    arm_fir_init_f32(&Sy, NUM_TAPS, (float32_t *)&firCoeffs32[0], stateY, BLOCK_SIZE);
    arm_fir_init_f32(&Sz, NUM_TAPS, (float32_t *)&firCoeffs32[0], stateZ, BLOCK_SIZE);

    printf("sample,raw_x,raw_y,raw_z,filtered_x,filtered_y,filtered_z\r\n");

    while (1)
    {
        for (uint32_t i = 0; i < BLOCK_SIZE; i++)
        {
            BSP_ACCELERO_AccGetXYZ(acc);

            rawX[i] = (float32_t)acc[0];
            rawY[i] = (float32_t)acc[1];
            rawZ[i] = (float32_t)acc[2];

            HAL_Delay(10);   // about 100 Hz sampling
        }

        arm_fir_f32(&Sx, rawX, filteredX, BLOCK_SIZE);
        arm_fir_f32(&Sy, rawY, filteredY, BLOCK_SIZE);
        arm_fir_f32(&Sz, rawZ, filteredZ, BLOCK_SIZE);

        for (uint32_t i = 0; i < BLOCK_SIZE; i++)
        {
            printf("%f,%f,%f,%f,%f,%f\r\n",
                   rawX[i],
                   rawY[i],
                   rawZ[i],
                   filteredX[i],
                   filteredY[i],
                   filteredZ[i]);
        }
    }
}
/* USER CODE END 4 */

void Error_Handler(void)
{
  __disable_irq();
  while (1)
  {
  }
}
